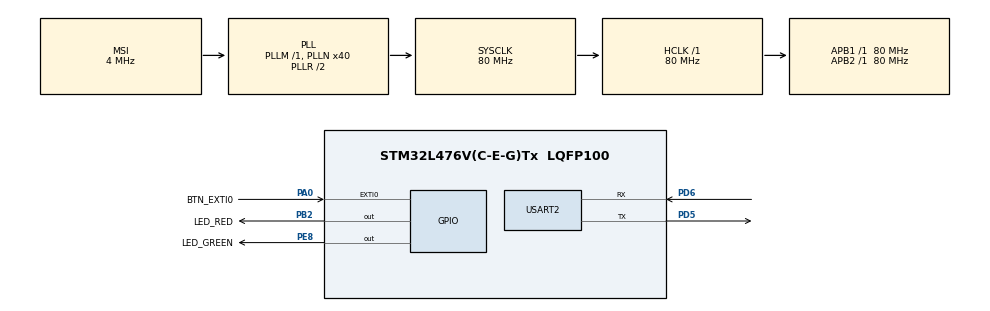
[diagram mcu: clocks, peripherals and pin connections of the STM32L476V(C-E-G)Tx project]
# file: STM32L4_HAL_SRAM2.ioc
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Mcu.Family=STM32L4
Mcu.Name=STM32L476V(C-E-G)Tx
Mcu.Package=LQFP100
NVIC.PriorityGroup=NVIC_PRIORITYGROUP_4
PA0.GPIO_Label=BTN_EXTI0
PA0.Signal=GPXTI0
PA13\ (JTMS-SWDIO).Mode=Serial_Wire
PA13\ (JTMS-SWDIO).Signal=SYS_JTMS-SWDIO
PA14\ (JTCK-SWCLK).Mode=Serial_Wire
PA14\ (JTCK-SWCLK).Signal=SYS_JTCK-SWCLK
PB2.GPIO_Label=LED_RED
PB2.Signal=GPIO_Output
PC14-OSC32_IN\ (PC14).Mode=LSE-External-Oscillator
PC14-OSC32_IN\ (PC14).Signal=RCC_OSC32_IN
PC15-OSC32_OUT\ (PC15).Mode=LSE-External-Oscillator
PC15-OSC32_OUT\ (PC15).Signal=RCC_OSC32_OUT
PD5.Mode=Asynchronous
PD5.Signal=USART2_TX
PD6.Mode=Asynchronous
PD6.Signal=USART2_RX
PE8.GPIO_Label=LED_GREEN
PE8.Signal=GPIO_Output
ProjectManager.HeapSize=0x200
ProjectManager.StackSize=0x400
ProjectManager.TargetToolchain=STM32CubeIDE
RCC.ADCFreq_Value=48000000
RCC.AHBFreq_Value=80000000
RCC.APB1Freq_Value=80000000
RCC.APB1TimFreq_Value=80000000
RCC.APB2Freq_Value=80000000
RCC.APB2TimFreq_Value=80000000
RCC.CortexFreq_Value=80000000
RCC.HCLKFreq_Value=80000000
RCC.HSE_VALUE=8000000
RCC.HSI_VALUE=16000000
RCC.MSIAutoCalibration=ENABLED
RCC.MSI_VALUE=4000000
RCC.PLLN=40
RCC.PLLSAI1N=24
RCC.SYSCLKFreq_VALUE=80000000
RCC.SYSCLKSource=RCC_SYSCLKSOURCE_PLLCLK
RCC.USBFreq_Value=48000000
RCC.VCOOutputFreq_Value=160000000
USART2.VirtualMode-Asynchronous=VM_ASYNC
VP_CRC_VS_CRC.Mode=CRC_Activate
board=STM32L476G-DISCO

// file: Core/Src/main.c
/* USER CODE BEGIN Header */
/**
 ******************************************************************************
 * @file           : main.c
 * @brief          : Main program body
 ******************************************************************************
 * @attention
 *
 * Copyright (c) 2023 STMicroelectronics.
 * All rights reserved.
 *
 * This software is licensed under terms that can be found in the LICENSE file
 * in the root directory of this software component.
 * If no LICENSE file comes with this software, it is provided AS-IS.
 *
 ******************************************************************************
 */
/* USER CODE END Header */
#include "main.h"
#include "crc.h"
#include "usart.h"
#include "gpio.h"

void SystemClock_Config(void);

/* USER CODE BEGIN 0 */

#define TEST_PATTERN    0xAA
#define TEST_ARRAY_SIZE 16

__attribute__((section(".sram2_section.sram2Array")))
uint8_t sram2Array[TEST_ARRAY_SIZE];
uint16_t cnt = 0;
uint32_t timeout = 0;

int _write(int file, char* p, int len)
{
  HAL_UART_Transmit(&huart2, (const uint8_t*)p, len, 10);
  return len;
}

/* USER CODE END 0 */

int main(void)
{

  /* MCU Configuration--------------------------------------------------------*/

  /* Reset of all peripherals, Initializes the Flash interface and the Systick. */
  HAL_Init();

  /* Configure the system clock */
  SystemClock_Config();

  /* Initialize all configured peripherals */
  MX_GPIO_Init();
  MX_USART2_UART_Init();
  MX_CRC_Init();
  /* USER CODE BEGIN 2 */

  // write SRAM2 with TEST_PATTERN
  for(cnt = 0; cnt < TEST_ARRAY_SIZE; cnt++)
  {
    sram2Array[cnt] = TEST_PATTERN;
  }

  // erase SRAM2
  __HAL_SYSCFG_SRAM2_WRP_UNLOCK();
  __HAL_SYSCFG_SRAM2_ERASE();

  // wait until SRAM2 ERASE is done
  timeout = HAL_GetTick() + 10;
  while(__HAL_SYSCFG_GET_FLAG(SYSCFG_FLAG_SRAM2_BUSY))
  {
    if(HAL_GetTick() >= timeout) break;
  }

  // check whether SRAM2 is clear or not
  for(cnt = 0; cnt < TEST_ARRAY_SIZE; cnt++)
  {
    if(sram2Array[cnt] != 0)
    {
      HAL_GPIO_WritePin(LED_RED_GPIO_Port, LED_RED_Pin, GPIO_PIN_SET);
      break;
    }
  }

  HAL_GPIO_WritePin(LED_GREEN_GPIO_Port, LED_GREEN_Pin, GPIO_PIN_SET);

  /* USER CODE END 2 */

  /* Infinite loop */
  while (1)
  {

  }
}

void SystemClock_Config(void)
{
  RCC_OscInitTypeDef RCC_OscInitStruct = {0};
  RCC_ClkInitTypeDef RCC_ClkInitStruct = {0};

  /** Configure the main internal regulator output voltage
   */
  if (HAL_PWREx_ControlVoltageScaling(PWR_REGULATOR_VOLTAGE_SCALE1) != HAL_OK)
  {
    Error_Handler();
  }

  /** Configure LSE Drive Capability
   */
  HAL_PWR_EnableBkUpAccess();
  __HAL_RCC_LSEDRIVE_CONFIG(RCC_LSEDRIVE_LOW);

  /** Initializes the RCC Oscillators according to the specified parameters
   * in the RCC_OscInitTypeDef structure.
   */
  RCC_OscInitStruct.OscillatorType = RCC_OSCILLATORTYPE_LSE|RCC_OSCILLATORTYPE_MSI;
  RCC_OscInitStruct.LSEState = RCC_LSE_ON;
  RCC_OscInitStruct.MSIState = RCC_MSI_ON;
  RCC_OscInitStruct.MSICalibrationValue = 0;
  RCC_OscInitStruct.MSIClockRange = RCC_MSIRANGE_6;
  RCC_OscInitStruct.PLL.PLLState = RCC_PLL_ON;
  RCC_OscInitStruct.PLL.PLLSource = RCC_PLLSOURCE_MSI;
  RCC_OscInitStruct.PLL.PLLM = 1;
  RCC_OscInitStruct.PLL.PLLN = 40;
  RCC_OscInitStruct.PLL.PLLP = RCC_PLLP_DIV7;
  RCC_OscInitStruct.PLL.PLLQ = RCC_PLLQ_DIV2;
  RCC_OscInitStruct.PLL.PLLR = RCC_PLLR_DIV2;
  if (HAL_RCC_OscConfig(&RCC_OscInitStruct) != HAL_OK)
  {
    Error_Handler();
  }

  /** Initializes the CPU, AHB and APB buses clocks
   */
  RCC_ClkInitStruct.ClockType = RCC_CLOCKTYPE_HCLK|RCC_CLOCKTYPE_SYSCLK
      |RCC_CLOCKTYPE_PCLK1|RCC_CLOCKTYPE_PCLK2;
  RCC_ClkInitStruct.SYSCLKSource = RCC_SYSCLKSOURCE_PLLCLK;
  RCC_ClkInitStruct.AHBCLKDivider = RCC_SYSCLK_DIV1;
  RCC_ClkInitStruct.APB1CLKDivider = RCC_HCLK_DIV1;
  RCC_ClkInitStruct.APB2CLKDivider = RCC_HCLK_DIV1;

  if (HAL_RCC_ClockConfig(&RCC_ClkInitStruct, FLASH_LATENCY_4) != HAL_OK)
  {
    Error_Handler();
  }

  /** Enable MSI Auto calibration
   */
  HAL_RCCEx_EnableMSIPLLMode();
}

void Error_Handler(void)
{
  __disable_irq();
  while (1)
  {
  }
}
